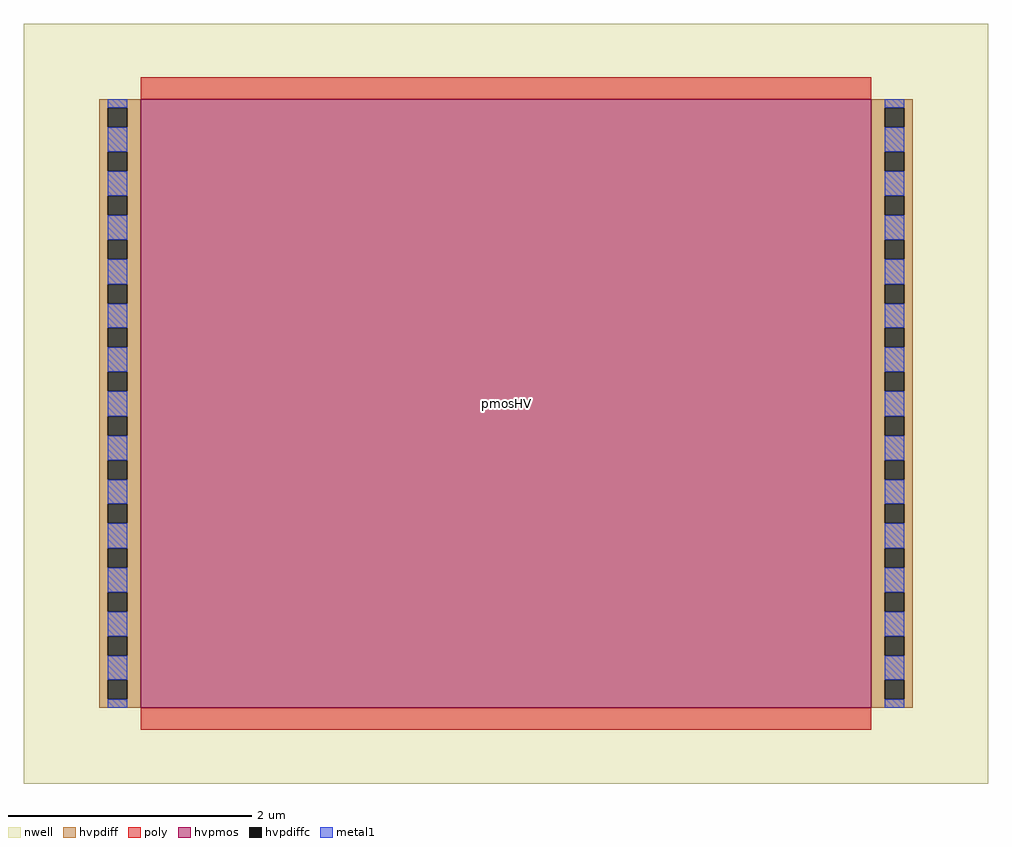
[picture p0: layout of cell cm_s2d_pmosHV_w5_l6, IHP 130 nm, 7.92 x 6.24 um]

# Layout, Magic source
magic
tech ihp-sg13cmos5l
magscale 1 2
<< nwell >>
rect -124 -124 1460 1124
<< hvpmos >>
rect 68 0 1268 1000
<< hvpdiff >>
rect 0 986 68 1000
rect 0 954 14 986
rect 46 954 68 986
rect 0 913 68 954
rect 0 881 14 913
rect 46 881 68 913
rect 0 841 68 881
rect 0 809 14 841
rect 46 809 68 841
rect 0 769 68 809
rect 0 737 14 769
rect 46 737 68 769
rect 0 696 68 737
rect 0 664 14 696
rect 46 664 68 696
rect 0 624 68 664
rect 0 592 14 624
rect 46 592 68 624
rect 0 552 68 592
rect 0 520 14 552
rect 46 520 68 552
rect 0 479 68 520
rect 0 447 14 479
rect 46 447 68 479
rect 0 407 68 447
rect 0 375 14 407
rect 46 375 68 407
rect 0 335 68 375
rect 0 303 14 335
rect 46 303 68 335
rect 0 262 68 303
rect 0 230 14 262
rect 46 230 68 262
rect 0 190 68 230
rect 0 158 14 190
rect 46 158 68 190
rect 0 118 68 158
rect 0 86 14 118
rect 46 86 68 118
rect 0 46 68 86
rect 0 14 14 46
rect 46 14 68 46
rect 0 0 68 14
rect 1268 986 1336 1000
rect 1268 954 1290 986
rect 1322 954 1336 986
rect 1268 913 1336 954
rect 1268 881 1290 913
rect 1322 881 1336 913
rect 1268 841 1336 881
rect 1268 809 1290 841
rect 1322 809 1336 841
rect 1268 769 1336 809
rect 1268 737 1290 769
rect 1322 737 1336 769
rect 1268 696 1336 737
rect 1268 664 1290 696
rect 1322 664 1336 696
rect 1268 624 1336 664
rect 1268 592 1290 624
rect 1322 592 1336 624
rect 1268 552 1336 592
rect 1268 520 1290 552
rect 1322 520 1336 552
rect 1268 479 1336 520
rect 1268 447 1290 479
rect 1322 447 1336 479
rect 1268 407 1336 447
rect 1268 375 1290 407
rect 1322 375 1336 407
rect 1268 335 1336 375
rect 1268 303 1290 335
rect 1322 303 1336 335
rect 1268 262 1336 303
rect 1268 230 1290 262
rect 1322 230 1336 262
rect 1268 190 1336 230
rect 1268 158 1290 190
rect 1322 158 1336 190
rect 1268 118 1336 158
rect 1268 86 1290 118
rect 1322 86 1336 118
rect 1268 46 1336 86
rect 1268 14 1290 46
rect 1322 14 1336 46
rect 1268 0 1336 14
<< hvpdiffc >>
rect 14 954 46 986
rect 14 881 46 913
rect 14 809 46 841
rect 14 737 46 769
rect 14 664 46 696
rect 14 592 46 624
rect 14 520 46 552
rect 14 447 46 479
rect 14 375 46 407
rect 14 303 46 335
rect 14 230 46 262
rect 14 158 46 190
rect 14 86 46 118
rect 14 14 46 46
rect 1290 954 1322 986
rect 1290 881 1322 913
rect 1290 809 1322 841
rect 1290 737 1322 769
rect 1290 664 1322 696
rect 1290 592 1322 624
rect 1290 520 1322 552
rect 1290 447 1322 479
rect 1290 375 1322 407
rect 1290 303 1322 335
rect 1290 230 1322 262
rect 1290 158 1322 190
rect 1290 86 1322 118
rect 1290 14 1322 46
<< poly >>
rect 68 1000 1268 1036
rect 68 -36 1268 0
<< metal1 >>
rect 14 986 46 1000
rect 14 913 46 954
rect 14 841 46 881
rect 14 769 46 809
rect 14 696 46 737
rect 14 624 46 664
rect 14 552 46 592
rect 14 479 46 520
rect 14 407 46 447
rect 14 335 46 375
rect 14 262 46 303
rect 14 190 46 230
rect 14 118 46 158
rect 14 46 46 86
rect 14 0 46 14
rect 1290 986 1322 1000
rect 1290 913 1322 954
rect 1290 841 1322 881
rect 1290 769 1322 809
rect 1290 696 1322 737
rect 1290 624 1322 664
rect 1290 552 1322 592
rect 1290 479 1322 520
rect 1290 407 1322 447
rect 1290 335 1322 375
rect 1290 262 1322 303
rect 1290 190 1322 230
rect 1290 118 1322 158
rect 1290 46 1322 86
rect 1290 0 1322 14
<< labels >>
flabel comment s 668 500 668 500 0 FreeSans 200 90 0 0 pmosHV
<< properties >>
string GDS_END 50534
string GDS_FILE custom_io/gds/sg13cmos5l_IOPadSingle2Diff.uniq.gds
string GDS_START 47764
<< end >>
